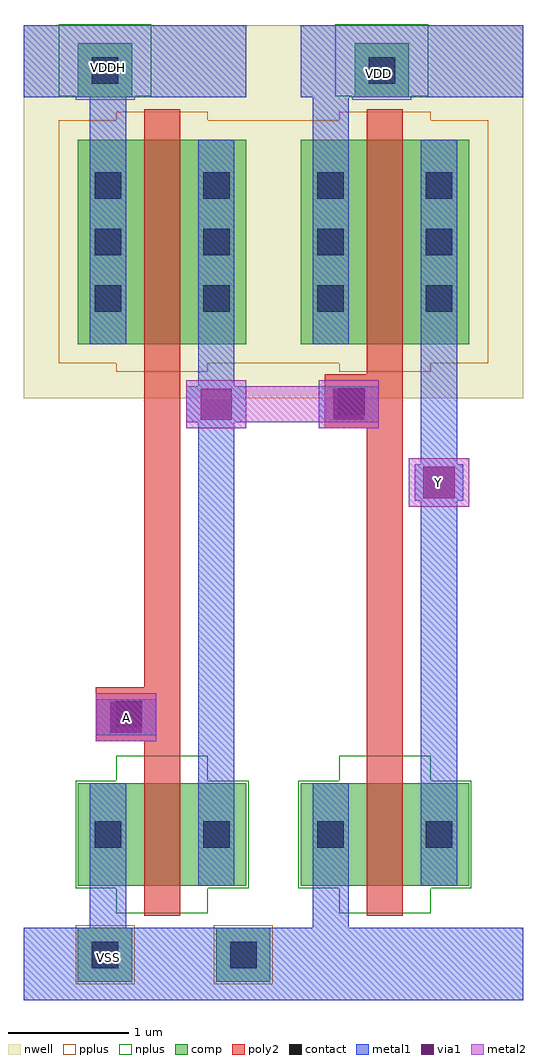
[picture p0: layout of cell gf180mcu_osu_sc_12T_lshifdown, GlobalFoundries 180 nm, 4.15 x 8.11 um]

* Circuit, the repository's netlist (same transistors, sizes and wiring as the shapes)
* Copyright 2022 Google LLC
*
* Licensed under the Apache License, Version 2.0 (the "License");
* you may not use this file except in compliance with the License.
* You may obtain a copy of the License at
*
*      http://www.apache.org/licenses/LICENSE-2.0
*
* Unless required by applicable law or agreed to in writing, software
* distributed under the License is distributed on an "AS IS" BASIS,
* WITHOUT WARRANTIES OR CONDITIONS OF ANY KIND, either express or implied.
* See the License for the specific language governing permissions and
* limitations under the License.

.option scale=0.05u

.subckt gf180mcu_osu_sc_12T_lshifdown A Y
X0 Y a_26_19 VSS VSS nmos_3p3 w=17 l=6
X1 a_26_19 A VDD VDD pmos_3p3 w=34 l=6
X2 Y a_26_19 VDD VDD pmos_3p3 w=34 l=6
X3 a_26_19 A VSS VSS nmos_3p3 w=17 l=6
.ends

** hspice subcircuit dictionary

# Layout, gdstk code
import gdstk
lib = gdstk.Library(unit=1e-6, precision=1e-09)
def R(c, l, rs):  # rectangles x0, y0, x1, y1
    for r in rs: c.add(gdstk.rectangle(r[:2], r[2:], *l))
def A(c, l, x, y, w, h, nx, ny, dx, dy):  # array of equal rectangles
    R(c, l, [(x+i*dx, y+j*dy, x+i*dx+w, y+j*dy+h) for i in range(nx) for j in range(ny)])
nwell = (21, 0)
comp = (22, 0)
poly2 = (30, 0)
pplus = (31, 0)
nplus = (32, 0)
contact = (33, 0)
metal1 = (34, 0)
via1 = (35, 0)
metal2 = (36, 0)

gf180mcu_osu_sc_12t_lshi = lib.new_cell('gf180mcu_osu_sc_12T_lshifdown')
R(gf180mcu_osu_sc_12t_lshi, nwell, [(0,5,4.15,8.1)])
R(gf180mcu_osu_sc_12t_lshi, comp, [(0.45,0.15,0.9,0.6), (1.6,0.15,2.05,0.6), (0.45,0.95,1.85,1.8), (2.3,0.95,3.7,1.8), (0.45,5.45,1.85,7.15), (2.3,5.45,3.7,7.15), (0.45,7.5,0.9,7.95), (2.75,7.5,3.2,7.95)])
R(gf180mcu_osu_sc_12t_lshi, poly2, [(1,0.7,1.3,2.15), (2.85,0.7,3.15,4.75), (0.6,2.15,1.3,2.6), (1,2.6,1.3,7.4), (2.5,4.75,3.15,5.2), (2.85,5.2,3.15,7.4)])
R(gf180mcu_osu_sc_12t_lshi, pplus, [(0.43,0.13,0.92,0.62), (1.58,0.13,2.07,0.62), (0.77,5.22,1.53,5.29), (2.62,5.22,3.38,5.29), (0.29,5.29,3.86,7.31), (0.77,7.31,1.53,7.38), (2.62,7.31,3.38,7.38)])
R(gf180mcu_osu_sc_12t_lshi, nplus, [(0.77,0.72,1.53,0.93), (2.62,0.72,3.38,0.93), (0.43,0.93,1.87,1.82), (2.28,0.93,3.72,1.82), (0.77,1.82,1.53,2.03), (2.62,1.82,3.38,2.03), (0.43,7.48,0.92,7.51), (2.73,7.48,3.22,7.51), (0.29,7.51,1.06,8.11), (2.59,7.51,3.36,8.11)])
A(gf180mcu_osu_sc_12t_lshi, contact, 0.59, 5.72, 0.22, 0.22, 1, 3, 0, 0.47)
A(gf180mcu_osu_sc_12t_lshi, contact, 1.49, 5.72, 0.22, 0.22, 1, 3, 0, 0.47)
A(gf180mcu_osu_sc_12t_lshi, contact, 2.44, 5.72, 0.22, 0.22, 1, 3, 0, 0.47)
A(gf180mcu_osu_sc_12t_lshi, contact, 3.34, 5.72, 0.22, 0.22, 1, 3, 0, 0.47)
R(gf180mcu_osu_sc_12t_lshi, contact, [(0.565,0.265,0.785,0.485), (1.715,0.265,1.935,0.485), (0.59,1.265,0.81,1.485), (1.49,1.265,1.71,1.485), (2.44,1.265,2.66,1.485), (3.34,1.265,3.56,1.485), (0.765,2.265,0.985,2.485), (2.615,4.865,2.835,5.085), (0.565,7.615,0.785,7.835), (2.865,7.615,3.085,7.835)])
R(gf180mcu_osu_sc_12t_lshi, metal1, [(0,0,4.15,0.6), (0.55,0.6,0.85,1.8), (2.4,0.6,2.7,1.8), (1.45,0.95,1.75,4.8), (3.3,0.95,3.6,4.15), (0.6,2.2,1.1,2.5), (3.25,4.15,3.65,4.45), (3.3,4.45,3.6,7.15), (1.35,4.8,1.85,5.1), (2.45,4.8,2.95,5.1), (1.45,5.1,1.75,7.15), (0.55,5.45,0.85,7.5), (2.4,5.45,2.7,7.5), (0,7.5,1.85,8.1), (2.3,7.5,4.15,8.1)])
R(gf180mcu_osu_sc_12t_lshi, via1, [(0.72,2.22,0.98,2.48), (3.32,4.17,3.58,4.43), (1.47,4.82,1.73,5.08), (2.57,4.82,2.83,5.08)])
R(gf180mcu_osu_sc_12t_lshi, metal2, [(0.6,2.15,1.1,2.55), (3.2,4.1,3.7,4.5), (1.35,4.75,1.85,4.8), (2.45,4.75,2.95,4.8), (1.35,4.8,2.95,5.1), (1.35,5.1,1.85,5.15), (2.45,5.1,2.95,5.15)])
gf180mcu_osu_sc_12t_lshi.add(gdstk.Label('VSS', (0.7,0.35), layer=34, texttype=0))
gf180mcu_osu_sc_12t_lshi.add(gdstk.Label('VDDH', (0.7,7.75), layer=34, texttype=0))
gf180mcu_osu_sc_12t_lshi.add(gdstk.Label('VDD', (2.95,7.7), layer=34, texttype=0))
gf180mcu_osu_sc_12t_lshi.add(gdstk.Label('A', (0.85,2.35), layer=36, texttype=10))
gf180mcu_osu_sc_12t_lshi.add(gdstk.Label('Y', (3.45,4.3), layer=36, texttype=10))

lib.write_gds('gf180mcu_osu_sc_12T_lshifdown.gds')
